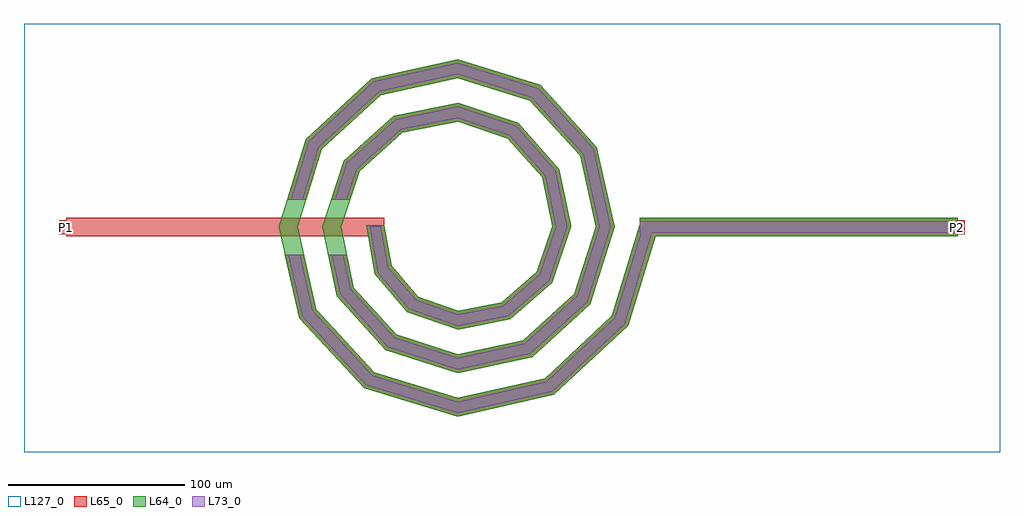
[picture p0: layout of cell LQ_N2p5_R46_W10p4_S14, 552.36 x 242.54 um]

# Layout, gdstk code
import gdstk
lib = gdstk.Library(unit=1e-6, precision=1e-09)
def R(c, l, rs):  # rectangles x0, y0, x1, y1
    for r in rs: c.add(gdstk.rectangle(r[:2], r[2:], *l))
def P(c, l, *ps):  # polygons
    for p in ps: c.add(gdstk.Polygon(p, *l))
L64_0 = (64, 0)
L65_0 = (65, 0)
L73_0 = (73, 0)
L127_0 = (127, 0)

lq_n2p5_r46_w10p4_s14 = lib.new_cell('LQ_N2p5_R46_W10p4_S14')
R(lq_n2p5_r46_w10p4_s14, L64_0, [(103.032,-5.2,283.032,5.2)])
P(lq_n2p5_r46_w10p4_s14, L64_0, [(-37.215,-21.976),(-22.284,-39.411),(0.391,-47.329),(25.018,-42.58),(44.73,-25.406),(53.496,0.35),(47.94,28.07),(28.521,50.054),(0.317,59.665),(-31.127,53.298),(-55.382,31.63),(-65.834,0.29),(-58.654,-34.189),(-34.736,-60.712),(0.267,-72.003),(37.255,-64.007),(66.045,-37.839),(78.172,0.247),(69.36,40.323),(40.939,71.379),(0.23,84.342),(-43.394,74.711),(-76.714,44.037),(-90.512,0.215),(-80.061,-46.467),(-47.134,-82.051),(0.202,-96.681),(49.541,-85.41),(87.388,-50.229),(103.26,1.525),(113.203,-1.525),(96.513,-55.946),(54.578,-94.928),(0.202,-107.442),(-52.871,-91.163),(-89.59,-51.481),(-101.271,0.215),(-85.812,49.798),(-48.384,84.253),(0.23,95.1),(46.726,80.46),(78.917,45.284),(88.929,0.247),(75.107,-43.656),(42.183,-73.582),(0.267,-82.758),(-40.588,-69.752),(-68.249,-39.078),(-76.587,0.29),(-64.396,37.524),(-35.97,62.917),(0.317,70.416),(34.463,59.036),(57.588,32.857),(64.244,0.35),(53.673,-31.408),(29.738,-52.261),(0.391,-58.071),(-28.359,-48.305),(-46.939,-26.61),(-51.644,0.937),(-41.415,0.937)])
R(lq_n2p5_r46_w10p4_s14, L65_0, [(-221.33,-5.2,-41.33,5.2), (103.032,-5.2,283.032,5.2), (-225.33,-4,-217.33,4), (279.032,-4,287.032,4)])
P(lq_n2p5_r46_w10p4_s14, L65_0, [(-80.061,-46.467),(-47.134,-82.051),(0.202,-96.681),(49.541,-85.41),(87.388,-50.229),(103.26,1.525),(113.203,-1.525),(96.513,-55.946),(54.578,-94.928),(0.202,-107.442),(-52.871,-91.163),(-89.59,-51.481),(-97.698,-15.6),(-87.035,-15.6)],
  [(-58.654,-34.189),(-34.736,-60.712),(0.267,-72.003),(37.255,-64.007),(66.045,-37.839),(78.172,0.247),(69.36,40.323),(40.939,71.379),(0.23,84.342),(-43.394,74.711),(-76.714,44.037),(-85.581,15.6),(-96.474,15.6),(-85.812,49.798),(-48.384,84.253),(0.23,95.1),(46.726,80.46),(78.917,45.284),(88.93,0.247),(75.107,-43.656),(42.183,-73.582),(0.267,-82.758),(-40.588,-69.752),(-68.249,-39.078),(-73.222,-15.6),(-62.591,-15.6)],
  [(-22.284,-39.411),(0.391,-47.329),(25.018,-42.58),(44.73,-25.406),(53.496,0.35),(47.941,28.07),(28.521,50.054),(0.317,59.665),(-31.127,53.298),(-55.382,31.63),(-60.631,15.6),(-71.574,15.6),(-64.396,37.524),(-35.97,62.917),(0.317,70.416),(34.463,59.036),(57.588,32.857),(64.244,0.35),(53.673,-31.408),(29.738,-52.261),(0.391,-58.071),(-28.359,-48.305),(-46.939,-26.61),(-51.644,0.938),(-41.415,0.938),(-37.215,-21.976)])
R(lq_n2p5_r46_w10p4_s14, L73_0, [(103.032,-3.2,283.032,3.2)])
P(lq_n2p5_r46_w10p4_s14, L73_0, [(-81.894,-47.431),(-48.237,-83.803),(0.125,-98.751),(50.509,-87.241),(89.143,-51.328),(105.172,0.938),(111.291,0.938),(94.758,-54.847),(53.609,-93.098),(0.125,-105.372),(-51.768,-89.41),(-87.758,-50.517),(-95.647,-15.6),(-89.086,-15.6)],
  [(-60.499,-35.129),(-35.861,-62.451),(0.164,-74.071),(38.202,-65.849),(67.788,-38.957),(80.241,0.152),(71.198,41.277),(42.052,73.125),(0.142,86.411),(-44.354,76.546),(-78.464,45.145),(-87.676,15.6),(-94.379,15.6),(-84.062,48.69),(-47.424,82.418),(0.142,93.031),(45.613,78.714),(77.079,44.33),(86.861,0.152),(73.364,-42.537),(41.235,-71.741),(0.164,-80.69),(-39.463,-68.014),(-66.404,-38.138),(-71.177,-15.6),(-64.635,-15.6)],
  [(-23.452,-41.121),(0.241,-49.394),(25.926,-44.442),(46.45,-26.56),(55.563,0.216),(49.796,28.99),(29.663,51.782),(0.195,61.732),(-32.058,55.148),(-57.115,32.764),(-62.735,15.6),(-69.47,15.6),(-62.662,36.39),(-35.039,61.067),(0.195,68.348),(33.32,57.309),(55.733,31.937),(62.177,0.216),(51.954,-30.253),(28.831,-50.4),(0.241,-56.005),(-27.191,-46.595),(-45.069,-25.719),(-49.677,0.577),(-43.382,0.577),(-39.085,-22.867)])
R(lq_n2p5_r46_w10p4_s14, L127_0, [(-245.33,-127.442,307.032,115.1)])
lq_n2p5_r46_w10p4_s14.add(gdstk.Label('P2', (283.032,0), layer=65, texttype=0))
lq_n2p5_r46_w10p4_s14.add(gdstk.Label('P1', (-221.33,0), layer=65, texttype=0))
lq_n2p5_r46_w10p4_s14.add(gdstk.Label('P2', (287.032,0), layer=145, texttype=0))
lq_n2p5_r46_w10p4_s14.add(gdstk.Label('P1', (-225.33,0), layer=145, texttype=0))

lib.write_gds('LQ_N2p5_R46_W10p4_S14.gds')
